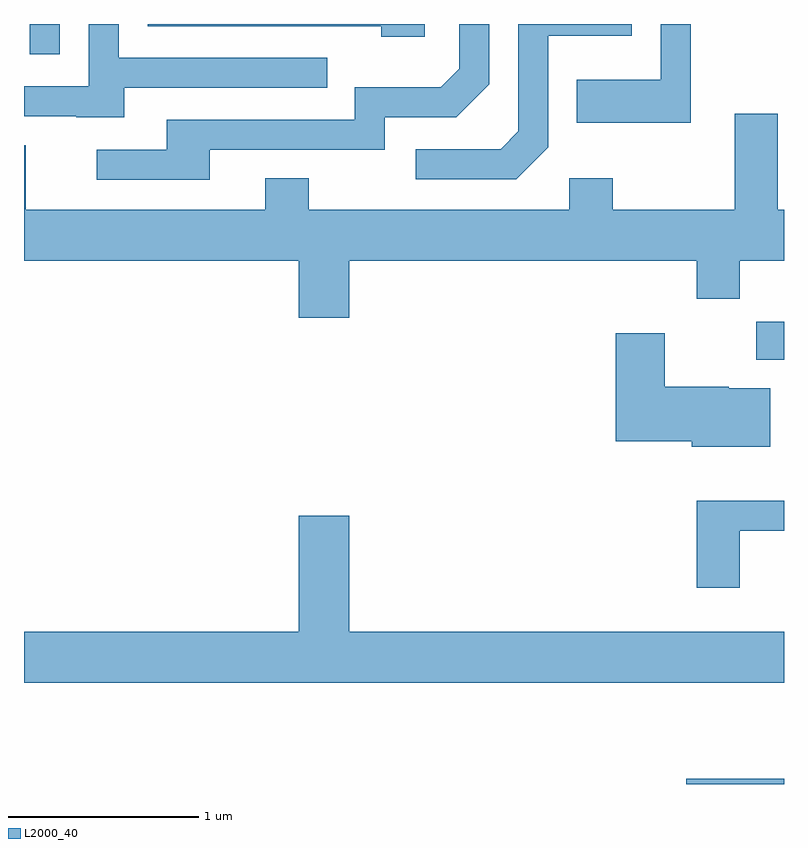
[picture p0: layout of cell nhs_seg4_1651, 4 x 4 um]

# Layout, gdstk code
import gdstk
lib = gdstk.Library(unit=1e-6, precision=1e-09)
def R(c, l, rs):  # rectangles x0, y0, x1, y1
    for r in rs: c.add(gdstk.rectangle(r[:2], r[2:], *l))
def P(c, l, *ps):  # polygons
    for p in ps: c.add(gdstk.Polygon(p, *l))
L2000_40 = (2000, 40)

nhs_seg4_1651 = lib.new_cell('nhs_seg4_1651')
R(nhs_seg4_1651, L2000_40, [(237.096,1291.982,237.611,1292.009), (237.466,1294.216,237.611,1294.414), (233.641,1295.823,233.799,1295.982)])
P(nhs_seg4_1651, L2000_40, [(235.719,1295.982),(234.261,1295.982),(234.261,1295.971),(235.491,1295.971),(235.491,1295.916),(235.719,1295.916)],
  [(234.589,1295.321),(235.509,1295.321),(235.509,1295.491),(235.887,1295.491),(236.059,1295.664),(236.059,1295.982),(235.901,1295.982),(235.901,1295.747),(235.804,1295.649),(235.351,1295.649),(235.351,1295.479),(234.361,1295.479),(234.361,1295.319),(233.993,1295.319),(233.993,1295.161),(234.589,1295.161)],
  [(237.119,1295.982),(236.961,1295.982),(236.961,1295.689),(236.521,1295.689),(236.521,1295.461),(237.119,1295.461)],
  [(234.139,1295.646),(235.208,1295.646),(235.208,1295.804),(234.109,1295.804),(234.109,1295.982),(233.951,1295.982),(233.951,1295.654),(233.611,1295.654),(233.611,1295.496),(233.885,1295.496),(233.885,1295.491),(234.139,1295.491)],
  [(236.369,1295.334),(236.369,1295.921),(236.809,1295.921),(236.809,1295.982),(236.211,1295.982),(236.211,1295.417),(236.119,1295.324),(235.673,1295.324),(235.673,1295.166),(236.202,1295.166)],
  [(235.324,1294.736),(237.151,1294.736),(237.151,1294.536),(237.379,1294.536),(237.379,1294.736),(237.611,1294.736),(237.611,1295.004),(237.579,1295.004),(237.579,1295.509),(237.351,1295.509),(237.351,1295.004),(236.709,1295.004),(236.709,1295.169),(236.481,1295.169),(236.481,1295.004),(235.109,1295.004),(235.109,1295.169),(234.881,1295.169),(234.881,1295.004),(233.619,1295.004),(233.619,1295.344),(233.611,1295.344),(233.611,1294.736),(235.056,1294.736),(235.056,1294.436),(235.324,1294.436)],
  [(237.539,1294.064),(237.32,1294.064),(237.32,1294.074),(236.984,1294.074),(236.984,1294.354),(236.726,1294.354),(236.726,1293.786),(237.126,1293.786),(237.126,1293.756),(237.539,1293.756)],
  [(237.379,1293.316),(237.611,1293.316),(237.611,1293.474),(237.151,1293.474),(237.151,1293.016),(237.379,1293.016)],
  [(237.611,1292.784),(235.324,1292.784),(235.324,1293.394),(235.056,1293.394),(235.056,1292.784),(233.611,1292.784),(233.611,1292.516),(237.611,1292.516)])

lib.write_gds('nhs_seg4_1651.gds')
